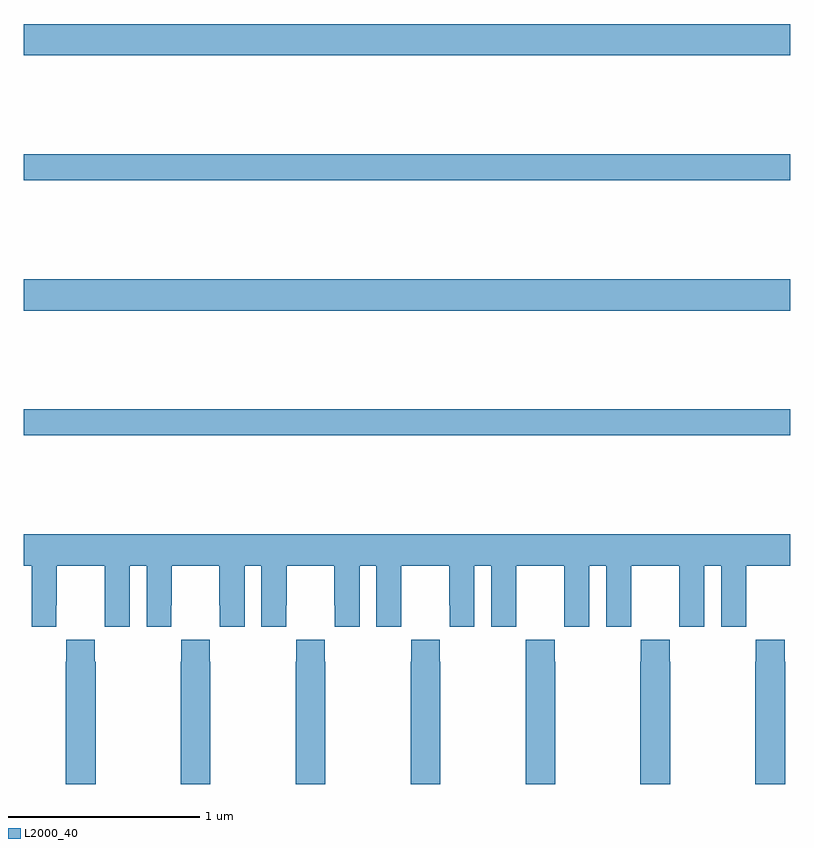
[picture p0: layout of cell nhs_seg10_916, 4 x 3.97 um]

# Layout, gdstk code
import gdstk
lib = gdstk.Library(unit=1e-6, precision=1e-09)
def R(c, l, rs):  # rectangles x0, y0, x1, y1
    for r in rs: c.add(gdstk.rectangle(r[:2], r[2:], *l))
def P(c, l, *ps):  # polygons
    for p in ps: c.add(gdstk.Polygon(p, *l))
L2000_40 = (2000, 40)

nhs_seg10_916 = lib.new_cell('nhs_seg10_916')
R(nhs_seg10_916, L2000_40, [(157,1310.32,161,1310.456), (157,1310.972,161,1311.136), (157,1311.652,161,1311.788), (157,1312.304,161,1312.468)])
P(nhs_seg10_916, L2000_40, [(157,1309.64),(157.04,1309.64),(157.04,1309.32),(157.17,1309.32),(157.17,1309.432),(157.171,1309.432),(157.171,1309.64),(157.421,1309.64),(157.421,1309.432),(157.422,1309.432),(157.422,1309.32),(157.552,1309.32),(157.552,1309.64),(157.64,1309.64),(157.64,1309.32),(157.77,1309.32),(157.77,1309.432),(157.771,1309.432),(157.771,1309.64),(158.021,1309.64),(158.021,1309.432),(158.022,1309.432),(158.022,1309.32),(158.152,1309.32),(158.152,1309.64),(158.24,1309.64),(158.24,1309.32),(158.37,1309.32),(158.37,1309.432),(158.371,1309.432),(158.371,1309.64),(158.621,1309.64),(158.621,1309.432),(158.622,1309.432),(158.622,1309.32),(158.752,1309.32),(158.752,1309.64),(158.84,1309.64),(158.84,1309.32),(158.97,1309.32),(158.97,1309.432),(158.971,1309.432),(158.971,1309.64),(159.221,1309.64),(159.221,1309.432),(159.222,1309.432),(159.222,1309.32),(159.352,1309.32),(159.352,1309.64),(159.44,1309.64),(159.44,1309.32),(159.57,1309.32),(159.57,1309.432),(159.571,1309.432),(159.571,1309.64),(159.821,1309.64),(159.821,1309.432),(159.822,1309.432),(159.822,1309.32),(159.952,1309.32),(159.952,1309.64),(160.04,1309.64),(160.04,1309.32),(160.17,1309.32),(160.17,1309.432),(160.171,1309.432),(160.171,1309.64),(160.421,1309.64),(160.421,1309.432),(160.422,1309.432),(160.422,1309.32),(160.552,1309.32),(160.552,1309.64),(160.64,1309.64),(160.64,1309.32),(160.77,1309.32),(160.77,1309.432),(160.771,1309.432),(160.771,1309.64),(161,1309.64),(161,1309.804),(157,1309.804)],
  [(157.374,1309.139),(157.371,1309.139),(157.371,1309.252),(157.221,1309.252),(157.221,1309.139),(157.219,1309.139),(157.219,1308.5),(157.374,1308.5)],
  [(157.974,1309.139),(157.971,1309.139),(157.971,1309.252),(157.821,1309.252),(157.821,1309.139),(157.819,1309.139),(157.819,1308.5),(157.974,1308.5)],
  [(158.574,1309.139),(158.571,1309.139),(158.571,1309.252),(158.421,1309.252),(158.421,1309.139),(158.419,1309.139),(158.419,1308.5),(158.574,1308.5)],
  [(159.174,1309.139),(159.171,1309.139),(159.171,1309.252),(159.021,1309.252),(159.021,1309.139),(159.019,1309.139),(159.019,1308.5),(159.174,1308.5)],
  [(160.374,1309.139),(160.371,1309.139),(160.371,1309.252),(160.221,1309.252),(160.221,1309.139),(160.219,1309.139),(160.219,1308.5),(160.374,1308.5)],
  [(160.974,1309.139),(160.971,1309.139),(160.971,1309.252),(160.821,1309.252),(160.821,1309.139),(160.819,1309.139),(160.819,1308.5),(160.974,1308.5)],
  [(159.774,1309.139),(159.771,1309.139),(159.771,1309.252),(159.621,1309.252),(159.621,1309.139),(159.619,1309.139),(159.619,1308.5),(159.774,1308.5)])

lib.write_gds('nhs_seg10_916.gds')
